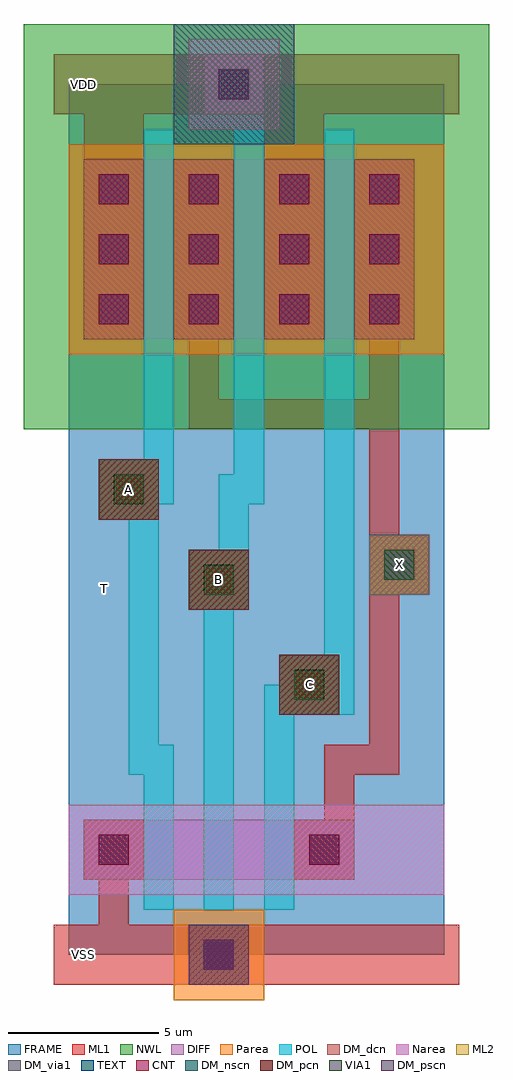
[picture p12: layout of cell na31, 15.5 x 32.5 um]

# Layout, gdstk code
import gdstk
lib = gdstk.Library(unit=1e-6, precision=1e-09)
def R(c, l, rs):  # rectangles x0, y0, x1, y1
    for r in rs: c.add(gdstk.rectangle(r[:2], r[2:], *l))
NWL = (1, 0)
DIFF = (3, 0)
POL = (5, 0)
CNT = (7, 0)
ML1 = (8, 0)
VIA1 = (9, 0)
ML2 = (10, 0)
TEXT = (13, 0)
FRAME = (14, 0)
Parea = (18, 0)
Narea = (19, 0)
DM_dcn = (101, 0)
DM_pcn = (102, 0)
DM_nscn = (103, 0)
DM_pscn = (104, 0)
DM_via1 = (105, 0)

dcont = lib.new_cell('dcont')
R(dcont, DIFF, [(-1,-1,1,1)])
R(dcont, CNT, [(-0.5,-0.5,0.5,0.5)])
R(dcont, ML1, [(-1,-1,1,1)])
R(dcont, TEXT, [(-0.5,-0.5,0.5,0.5)])
R(dcont, DM_dcn, [(-1,-1,1,1)])
dcont.add(gdstk.Label('dcont', (0,0), layer=13, texttype=0))

pcont = lib.new_cell('pcont')
R(pcont, POL, [(-1,-1,1,1)])
R(pcont, CNT, [(-0.5,-0.5,0.5,0.5)])
R(pcont, ML1, [(-1,-1,1,1)])
R(pcont, DM_pcn, [(-1,-1,1,1)])
pcont.add(gdstk.Label('pcont', (0,0), layer=13, texttype=0))

via = lib.new_cell('Via')
R(via, ML1, [(-1,-1,1,1)])
R(via, VIA1, [(-0.5,-0.5,0.5,0.5)])
R(via, ML2, [(-1,-1,1,1)])
R(via, TEXT, [(-0.5,-0.5,0.5,0.5)])
R(via, DM_via1, [(-1,-1,1,1)])
via.add(gdstk.Label('via', (0,0), layer=13, texttype=0))

nsubcont = lib.new_cell('nsubcont')
R(nsubcont, NWL, [(-2,-2,2,2)])
R(nsubcont, Narea, [(-1.5,-1.5,1.5,1.5)])
R(nsubcont, DM_nscn, [(-2,-2,2,2)])
nsubcont.add(gdstk.Reference(dcont, (0,0)))
nsubcont.add(gdstk.Label('NScont', (0,0), layer=13, texttype=0))

psubcont = lib.new_cell('psubcont')
R(psubcont, Parea, [(-1.5,-1.5,1.5,1.5)])
R(psubcont, DM_pscn, [(-1,-1,1,1)])
psubcont.add(gdstk.Reference(dcont, (0,0)))
psubcont.add(gdstk.Label('PScon', (0,0), layer=13, texttype=0))

na31 = lib.new_cell('na31')
R(na31, NWL, [(-1.5,17.5,14,31)])
R(na31, DIFF, [(0.5,2.5,9.5,4.5), (0.5,20.5,11.5,26.5)])
R(na31, ML1, [(-0.5,-1,13,1), (7,8,9,10), (4,11.5,6,13.5), (10,12,12,14), (1,14.5,3,16.5), (-0.5,28,13,30)])
R(na31, ML2, [(7,8,9,10), (4,11.5,6,13.5), (10,12,12,14), (1,14.5,3,16.5)])
R(na31, FRAME, [(0,0,12.5,29)])
R(na31, Parea, [(0,20,12.5,27)])
R(na31, Narea, [(0,2,12.5,5)])
R(na31, DM_via1, [(7,8,9,10), (4,11.5,6,13.5), (10,12,12,14), (1,14.5,3,16.5)])
na31.add(gdstk.FlexPath([(3,27),(3,15.5),(2.5,15.5),(2.5,6.5),(3,6.5),(3,2)], 1, ends="extended", simple_path=True, layer=5, datatype=0))  # POL
na31.add(gdstk.FlexPath([(6,27),(6,15.5),(5.5,15.5),(5.5,12.5),(5,12.5),(5,2)], 1, ends="extended", simple_path=True, layer=5, datatype=0))  # POL
na31.add(gdstk.FlexPath([(9,27),(9,8.5),(7,8.5),(7,2)], 1, ends="extended", simple_path=True, layer=5, datatype=0))  # POL
na31.add(gdstk.FlexPath([(10.5,22.3),(10.5,25.5)], 1.4, ends="extended", simple_path=True, layer=8, datatype=0))  # ML1
na31.add(gdstk.FlexPath([(10.5,20.5),(10.5,18)], 1, ends="extended", simple_path=True, layer=8, datatype=0))  # ML1
na31.add(gdstk.FlexPath([(4.5,20.5),(4.5,18),(10.5,18),(10.5,6.5),(9,6.5),(9,3.8)], 1, ends="extended", simple_path=True, layer=8, datatype=0))  # ML1
na31.add(gdstk.FlexPath([(7.5,21.6),(7.5,28.5)], 2, ends="extended", simple_path=True, layer=8, datatype=0))  # ML1
na31.add(gdstk.FlexPath([(4.5,22.3),(4.5,25.5)], 1.4, ends="extended", simple_path=True, layer=8, datatype=0))  # ML1
na31.add(gdstk.FlexPath([(1.5,1),(1.5,3.5)], 1, ends="extended", simple_path=True, layer=8, datatype=0))  # ML1
na31.add(gdstk.FlexPath([(1.5,21.5),(1.5,28.5)], 2, ends="extended", simple_path=True, layer=8, datatype=0))  # ML1
na31.add(gdstk.Reference(dcont, (7.5,25.5)))
na31.add(gdstk.Reference(dcont, (10.5,25.5)))
na31.add(gdstk.Reference(dcont, (10.5,21.5)))
na31.add(gdstk.Reference(pcont, (5,12.5)))
na31.add(gdstk.Reference(dcont, (1.5,25.5)))
na31.add(gdstk.Reference(dcont, (8.5,3.5)))
na31.add(gdstk.Reference(pcont, (2,15.5)))
na31.add(gdstk.Reference(via, (11,13)))
na31.add(gdstk.Reference(dcont, (1.5,21.5)))
na31.add(gdstk.Reference(dcont, (7.5,21.5)))
na31.add(gdstk.Reference(dcont, (4.5,23.5)))
na31.add(gdstk.Reference(pcont, (8,9)))
na31.add(gdstk.Reference(dcont, (1.5,3.5)))
na31.add(gdstk.Reference(via, (2,15.5)))
na31.add(gdstk.Reference(dcont, (10.5,23.5)))
na31.add(gdstk.Reference(nsubcont, (5.5,29)))
na31.add(gdstk.Reference(dcont, (4.5,21.5)))
na31.add(gdstk.Reference(dcont, (7.5,23.5)))
na31.add(gdstk.Reference(via, (8,9)))
na31.add(gdstk.Reference(dcont, (1.5,23.5)))
na31.add(gdstk.Reference(dcont, (4.5,25.5)))
na31.add(gdstk.Reference(via, (5,12.5)))
na31.add(gdstk.Reference(psubcont, (5,0)))
na31.add(gdstk.Label('T', (1.2,12.2), layer=1, texttype=0))
na31.add(gdstk.Label('VDD', (0.5,29), layer=8, texttype=0))
na31.add(gdstk.Label('VSS', (0.5,0), layer=8, texttype=0))
na31.add(gdstk.Label('X', (11,13), layer=10, texttype=0))
na31.add(gdstk.Label('C', (8,9), layer=10, texttype=0))
na31.add(gdstk.Label('B', (5,12.5), layer=10, texttype=0))
na31.add(gdstk.Label('A', (2,15.5), layer=10, texttype=0))
na31.add(gdstk.Label('via', (11,13), layer=13, texttype=0))
na31.add(gdstk.Label('via', (5,12.5), layer=13, texttype=0))
na31.add(gdstk.Label('via', (2,15.5), layer=13, texttype=0))
na31.add(gdstk.Label('via', (8,9), layer=13, texttype=0))

lib.write_gds('na31.gds')
